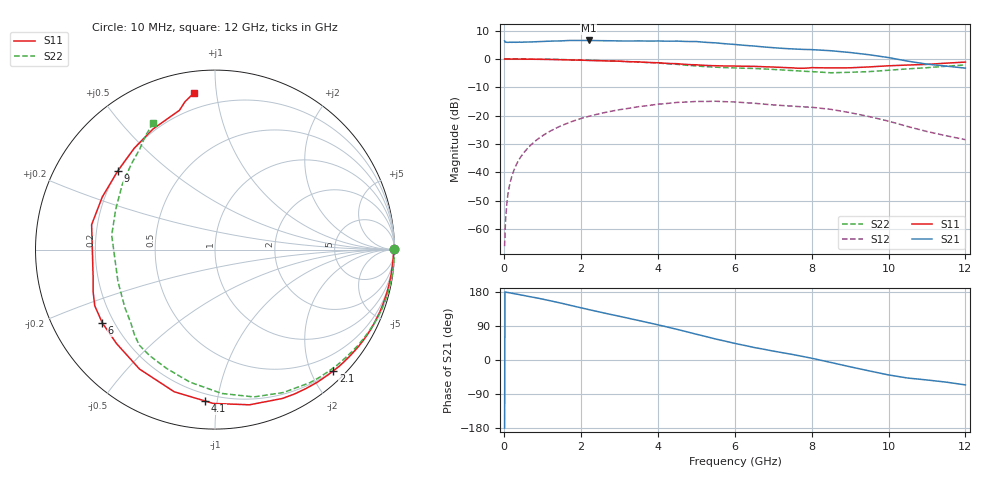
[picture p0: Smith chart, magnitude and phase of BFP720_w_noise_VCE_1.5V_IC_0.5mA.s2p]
! Infineon Technologies  Discrete & RF Semiconductors
! BFP720
! VCE =  1.5 V,  IC =  0.5 mA
! Common Emitter S-Parameters:  Aug 2012
# GHz  S  MA  R  50
!  f  S11  S21  S12  S22
! GHz  MAG  ANG  MAG  ANG  MAG  ANG  MAG  ANG
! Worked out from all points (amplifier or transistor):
!   105 points, 10 MHz to 12 GHz, reference 50 ohm
!   highest |S21| = 6.5 dB at 2.2 GHz (marker M1)
!   |S21| within 3 dB of that: start of sweep to 7.528 GHz
!   unconditionally stable (mu >= 1): 9.05 GHz to end of sweep
!   at 300 MHz: K = 0.00, MSG = 21.8 dB, |S12| = -37.7 dB
!   at 3.6 GHz: K = 0.24, MSG = 11.5 dB, |S12| = -16.7 dB
!   at 12 GHz: K = 1.02, MAG = 11.7 dB, |S12| = -28.5 dB
!   lowest NFmin = 0.59 dB at 450 MHz
!   S11 on the Smith chart (normalised r, x): 10 MHz: open; 2.1 GHz: 0.19, -2.36; 4.1 GHz: 0.16, -0.93; 6 GHz: 0.16, -0.29; 9 GHz: 0.20, +0.34; 12 GHz: 0.11, +0.87
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0.01  0.9961 0.1  2.077 -179.6  0.0005 -48.6  0.9966 0.1
0.04  0.9935 -0.7  1.973 178.9  0.0016 93.5  0.9991 -0.7
0.1  0.9941 -1.9  1.957 178.1  0.0043 88.1  0.9996 -1.8
0.2  0.993 -3.9  1.961 176.1  0.0086 87.2  0.9989 -3.4
0.4  0.9913 -8.0  1.979 172.4  0.0174 84.0  0.9977 -6.9
1.1  0.9788 -22.8  2.044 158.4  0.0489 71.6  0.9867 -19.4
1.7  0.9596 -36.6  2.113 144.7  0.076 59.9  0.9654 -30.5
2.1  0.9439 -45.7  2.111 135.4  0.093 51.6  0.9482 -37.9
2.2  0.9402 -47.9  2.114 133.0  0.0972 49.6  0.9442 -39.7
3.5  0.8858 -77.5  2.078 104.2  0.1439 23.8  0.8829 -64.4
4.1  0.8458 -93.6  2.061 90.5  0.1608 11.4  0.8367 -77.5
5  0.7874 -122.3  2.023 68.0  0.1781 -8.5  0.7522 -100.5
5.5  0.7584 -136.3  1.919 55.4  0.1794 -19.8  0.7149 -112.2
6  0.7489 -147.0  1.799 43.8  0.1745 -30.4  0.6937 -121.7
6.1  0.7458 -148.6  1.772 41.7  0.1723 -32.2  0.69 -123.1
7.5  0.6956 -167.5  1.5 14.6  0.1469 -54.8  0.6238 -138.5
8  0.7013 168.6  1.458 4.7  0.1405 -62.9  0.5966 -147.4
8.5  0.693 155.0  1.393 -6.5  0.129 -72.7  0.5695 -161.6
9  0.6967 141.1  1.296 -17.9  0.1128 -81.2  0.5811 172.1
10  0.7555 117.2  1.055 -39.4  0.08 -93.6  0.6314 144.9
10.5  0.7796 108.9  0.913 -47.6  0.0642 -95.8  0.667 134.3
12  0.8785 97.8  0.688 -65.7  0.0377 -86.1  0.7843 116.2
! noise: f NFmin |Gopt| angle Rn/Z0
0.45  0.59  0.89  6  0.89
1.8  0.89  0.79  32  0.77
2.4  1.02  0.74  86  0.57
5.5  1.58  0.61  109  0.26
10  2.85  0.65  -124  0.44
